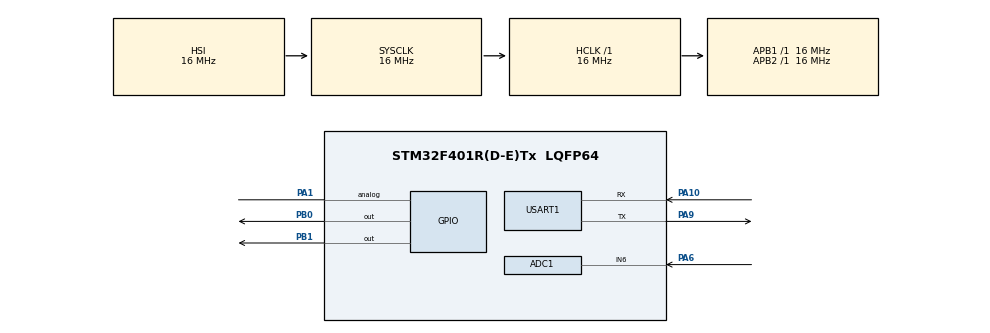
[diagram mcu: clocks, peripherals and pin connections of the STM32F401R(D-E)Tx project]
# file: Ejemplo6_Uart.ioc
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ADC1.Channel-0\#ChannelRegularConversion=ADC_CHANNEL_6
ADC1.ContinuousConvMode=DISABLE
ADC1.NbrOfConversion=1
ADC1.NbrOfConversionFlag=1
ADC1.Rank-0\#ChannelRegularConversion=1
ADC1.Resolution=ADC_RESOLUTION_12B
ADC1.SamplingTime-0\#ChannelRegularConversion=ADC_SAMPLETIME_3CYCLES
ADC1.master=1
Mcu.Family=STM32F4
Mcu.Name=STM32F401R(D-E)Tx
Mcu.Package=LQFP64
NVIC.PriorityGroup=NVIC_PRIORITYGROUP_4
NVIC.USART1_IRQn=true\:0\:0\:false\:false\:true\:true\:true\:true
PA1.Signal=SharedAnalog_PA1
PA10.Mode=Asynchronous
PA10.Signal=USART1_RX
PA13.Mode=Serial_Wire
PA13.Signal=SYS_JTMS-SWDIO
PA14.Mode=Serial_Wire
PA14.Signal=SYS_JTCK-SWCLK
PA6.Signal=ADCx_IN6
PA9.Mode=Asynchronous
PA9.Signal=USART1_TX
PB0.Signal=GPIO_Output
PB1.Signal=GPIO_Output
ProjectManager.HeapSize=0x200
ProjectManager.StackSize=0x400
ProjectManager.TargetToolchain=STM32CubeIDE
RCC.AHBFreq_Value=16000000
RCC.APB1Freq_Value=16000000
RCC.APB2Freq_Value=16000000
RCC.CortexFreq_Value=16000000
RCC.HSE_VALUE=25000000
RCC.HSI_VALUE=16000000
RCC.LSE_VALUE=32768
RCC.SYSCLKFreq_VALUE=16000000
RCC.VCOOutputFreq_Value=192000000
SH.ADCx_IN6.0=ADC1_IN6,IN6
SH.SharedAnalog_PA1.0=GPIO_Analog
SH.SharedAnalog_PA1.1=ADC1_IN1
USART1.VirtualMode=VM_ASYNC
board=custom

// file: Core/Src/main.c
/* USER CODE BEGIN Header */
/**
  ******************************************************************************
  * @file           : main.c
  * @brief          : Main program body
  ******************************************************************************
  * @attention
  *
  * Copyright (c) 2022 STMicroelectronics.
  * All rights reserved.
  *
  * This software is licensed under terms that can be found in the LICENSE file
  * in the root directory of this software component.
  * If no LICENSE file comes with this software, it is provided AS-IS.
  *
  ******************************************************************************
  */
/* USER CODE END Header */
#include "main.h"

/* USER CODE BEGIN Includes */
#include <string.h>
/* USER CODE END Includes */

 ADC_HandleTypeDef hadc1;

UART_HandleTypeDef huart1;

void SystemClock_Config(void);
static void MX_GPIO_Init(void);
static void MX_USART1_UART_Init(void);
static void MX_ADC1_Init(void);

/* USER CODE BEGIN 0 */
uint8_t data_rx=0;
/* USER CODE END 0 */

int main(void)
{

  /* MCU Configuration--------------------------------------------------------*/

  /* Reset of all peripherals, Initializes the Flash interface and the Systick. */
  HAL_Init();

  /* Configure the system clock */
  SystemClock_Config();

  /* Initialize all configured peripherals */
  MX_GPIO_Init();
  MX_USART1_UART_Init();
  MX_ADC1_Init();
  /* USER CODE BEGIN 2 */

  uint8_t cadena1[20] =  "Hola Mundo Utec\n\r";
  uint8_t cadena2[20] ;
  uint8_t i = 0;

  HAL_UART_Receive_IT(&huart1, &data_rx, 1);

  uint16_t dato_anx;

  /* USER CODE END 2 */

  /* Infinite loop */
  /* USER CODE BEGIN WHILE */
  while (1)
  {
	 /* sprintf(cadena2,"Valor Numerico : %u\n\r",i);
	  HAL_UART_Transmit(&huart1, (const uint8_t *)cadena2,(uint16_t) strlen(cadena2), HAL_MAX_DELAY);
	  asm("NOP");
	  //HAL_UART_Transmit(&huart1, (const uint8_t *)cadena1, (uint16_t)strlen(cadena1), HAL_MAX_DELAY);
	  HAL_Delay(500);
	  i++;
	  if(i==101) i = 0;*/

	  HAL_ADC_Start(&hadc1);
	  HAL_ADC_PollForConversion(&hadc1, 100);
	  dato_anx = HAL_ADC_GetValue(&hadc1);
	  HAL_ADC_Stop(&hadc1);

	  sprintf(cadena2,"Valor ADC : %u\n\r",dato_anx);
	  HAL_UART_Transmit(&huart1, (const uint8_t *)cadena2,(uint16_t) strlen(cadena2), HAL_MAX_DELAY);
	  HAL_Delay(200);
	  asm("NOP");
    /* USER CODE END WHILE */

  }
}

void SystemClock_Config(void)
{
  RCC_OscInitTypeDef RCC_OscInitStruct = {0};
  RCC_ClkInitTypeDef RCC_ClkInitStruct = {0};

  /** Configure the main internal regulator output voltage
  */
  __HAL_RCC_PWR_CLK_ENABLE();
  __HAL_PWR_VOLTAGESCALING_CONFIG(PWR_REGULATOR_VOLTAGE_SCALE2);

  /** Initializes the RCC Oscillators according to the specified parameters
  * in the RCC_OscInitTypeDef structure.
  */
  RCC_OscInitStruct.OscillatorType = RCC_OSCILLATORTYPE_HSI;
  RCC_OscInitStruct.HSIState = RCC_HSI_ON;
  RCC_OscInitStruct.HSICalibrationValue = RCC_HSICALIBRATION_DEFAULT;
  RCC_OscInitStruct.PLL.PLLState = RCC_PLL_NONE;
  if (HAL_RCC_OscConfig(&RCC_OscInitStruct) != HAL_OK)
  {
    Error_Handler();
  }

  /** Initializes the CPU, AHB and APB buses clocks
  */
  RCC_ClkInitStruct.ClockType = RCC_CLOCKTYPE_HCLK|RCC_CLOCKTYPE_SYSCLK
                              |RCC_CLOCKTYPE_PCLK1|RCC_CLOCKTYPE_PCLK2;
  RCC_ClkInitStruct.SYSCLKSource = RCC_SYSCLKSOURCE_HSI;
  RCC_ClkInitStruct.AHBCLKDivider = RCC_SYSCLK_DIV1;
  RCC_ClkInitStruct.APB1CLKDivider = RCC_HCLK_DIV1;
  RCC_ClkInitStruct.APB2CLKDivider = RCC_HCLK_DIV1;

  if (HAL_RCC_ClockConfig(&RCC_ClkInitStruct, FLASH_LATENCY_0) != HAL_OK)
  {
    Error_Handler();
  }
}

static void MX_ADC1_Init(void)
{

  ADC_ChannelConfTypeDef sConfig = {0};

  /** Configure the global features of the ADC (Clock, Resolution, Data Alignment and number of conversion)
  */
  hadc1.Instance = ADC1;
  hadc1.Init.ClockPrescaler = ADC_CLOCK_SYNC_PCLK_DIV2;
  hadc1.Init.Resolution = ADC_RESOLUTION_12B;
  hadc1.Init.ScanConvMode = DISABLE;
  hadc1.Init.ContinuousConvMode = DISABLE;
  hadc1.Init.DiscontinuousConvMode = DISABLE;
  hadc1.Init.ExternalTrigConvEdge = ADC_EXTERNALTRIGCONVEDGE_NONE;
  hadc1.Init.ExternalTrigConv = ADC_SOFTWARE_START;
  hadc1.Init.DataAlign = ADC_DATAALIGN_RIGHT;
  hadc1.Init.NbrOfConversion = 1;
  hadc1.Init.DMAContinuousRequests = DISABLE;
  hadc1.Init.EOCSelection = ADC_EOC_SINGLE_CONV;
  if (HAL_ADC_Init(&hadc1) != HAL_OK)
  {
    Error_Handler();
  }

  /** Configure for the selected ADC regular channel its corresponding rank in the sequencer and its sample time.
  */
  sConfig.Channel = ADC_CHANNEL_6;
  sConfig.Rank = 1;
  sConfig.SamplingTime = ADC_SAMPLETIME_3CYCLES;
  if (HAL_ADC_ConfigChannel(&hadc1, &sConfig) != HAL_OK)
  {
    Error_Handler();
  }

}

static void MX_USART1_UART_Init(void)
{

  huart1.Instance = USART1;
  huart1.Init.BaudRate = 115200;
  huart1.Init.WordLength = UART_WORDLENGTH_8B;
  huart1.Init.StopBits = UART_STOPBITS_1;
  huart1.Init.Parity = UART_PARITY_NONE;
  huart1.Init.Mode = UART_MODE_TX_RX;
  huart1.Init.HwFlowCtl = UART_HWCONTROL_NONE;
  huart1.Init.OverSampling = UART_OVERSAMPLING_16;
  if (HAL_UART_Init(&huart1) != HAL_OK)
  {
    Error_Handler();
  }

}

static void MX_GPIO_Init(void)
{
  GPIO_InitTypeDef GPIO_InitStruct = {0};

  /* GPIO Ports Clock Enable */
  __HAL_RCC_GPIOA_CLK_ENABLE();
  __HAL_RCC_GPIOB_CLK_ENABLE();

  /*Configure GPIO pin Output Level */
  HAL_GPIO_WritePin(GPIOB, GPIO_PIN_0|GPIO_PIN_1, GPIO_PIN_RESET);

  /*Configure GPIO pins : PB0 PB1 */
  GPIO_InitStruct.Pin = GPIO_PIN_0|GPIO_PIN_1;
  GPIO_InitStruct.Mode = GPIO_MODE_OUTPUT_PP;
  GPIO_InitStruct.Pull = GPIO_NOPULL;
  GPIO_InitStruct.Speed = GPIO_SPEED_FREQ_LOW;
  HAL_GPIO_Init(GPIOB, &GPIO_InitStruct);

}

/* USER CODE BEGIN 4 */

void HAL_UART_RxCpltCallback(UART_HandleTypeDef *huart){

	switch (data_rx) {
		case 'A':
			GPIOB->ODR |= (1<<0);
			break;
		case 'B':
			GPIOB->ODR &= ~(1<<0);
			break;
		case 'C':
			GPIOB->ODR |= (1<<1);
			break;
		case 'D':
			GPIOB->ODR &= ~(1<<1);
			break;
		default:
			HAL_UART_Transmit(&huart1, "TECLA INCORRECTA\n\r", strlen("TECLA INCORRECTA\n\r"), HAL_MAX_DELAY);
			break;
	}

	HAL_UART_Receive_IT(huart, &data_rx, 1);
}

/* USER CODE END 4 */

void Error_Handler(void)
{
  __disable_irq();
  while (1)
  {
  }
}
